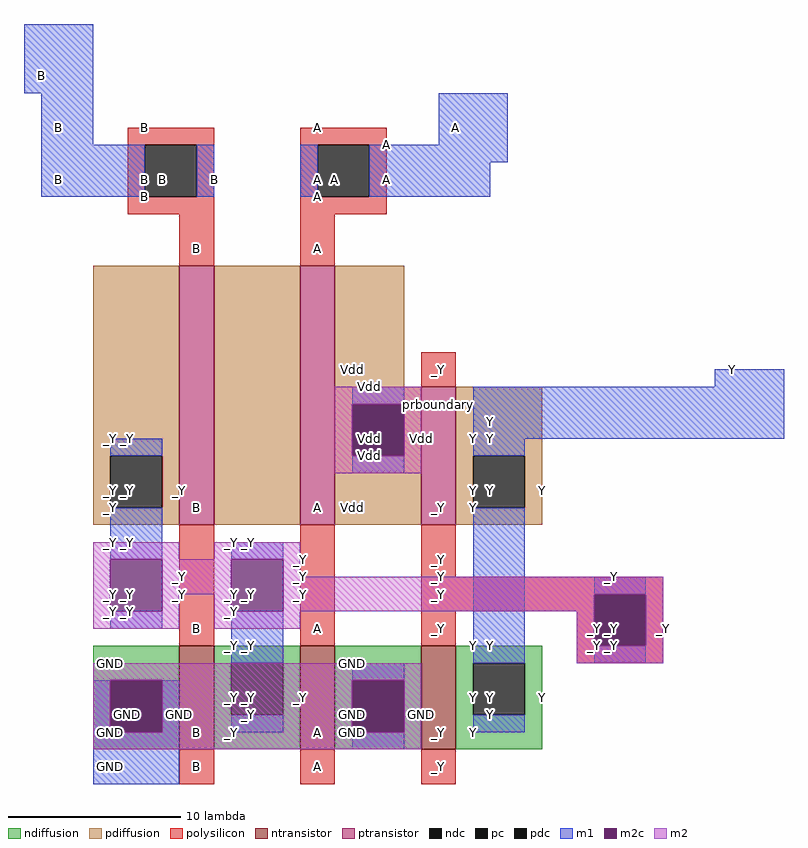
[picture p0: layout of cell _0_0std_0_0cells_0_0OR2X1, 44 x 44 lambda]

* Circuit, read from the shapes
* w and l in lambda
.subckt _0_0std_0_0cells_0_0OR2X1 Y A B
M1 _Y B GND VSUBS nfet w=6 l=2
M2 GND A _Y VSUBS nfet w=6 l=2
M3 Y _Y GND VSUBS nfet w=6 l=2
M4 n1 B _Y NWELL pfet w=15 l=2
M5 Vdd A n1 NWELL pfet w=15 l=2
M6 Y _Y Vdd NWELL pfet w=8 l=2
.ends

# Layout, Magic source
magic
tech sky130l
<< ndiffusion >>
rect 8 10 13 12
rect 8 7 9 10
rect 12 7 13 10
rect 8 6 13 7
rect 15 11 20 12
rect 15 8 16 11
rect 19 8 20 11
rect 15 6 20 8
rect 22 10 27 12
rect 22 7 23 10
rect 26 7 27 10
rect 22 6 27 7
rect 29 11 34 12
rect 29 8 30 11
rect 33 8 34 11
rect 29 6 34 8
<< ndc >>
rect 9 7 12 10
rect 16 8 19 11
rect 23 7 26 10
rect 30 8 33 11
<< ntransistor >>
rect 13 6 15 12
rect 20 6 22 12
rect 27 6 29 12
<< pdiffusion >>
rect 8 23 13 34
rect 8 20 9 23
rect 12 20 13 23
rect 8 19 13 20
rect 15 19 20 34
rect 22 27 26 34
rect 22 26 27 27
rect 22 23 23 26
rect 26 23 27 26
rect 22 19 27 23
rect 29 23 34 27
rect 29 20 30 23
rect 33 20 34 23
rect 29 19 34 20
<< pdc >>
rect 9 20 12 23
rect 23 23 26 26
rect 30 20 33 23
<< ptransistor >>
rect 13 19 15 34
rect 20 19 22 34
rect 27 19 29 27
<< polysilicon >>
rect 10 41 15 42
rect 10 38 11 41
rect 14 38 15 41
rect 10 37 15 38
rect 13 34 15 37
rect 20 41 25 42
rect 20 38 21 41
rect 24 38 25 41
rect 20 37 25 38
rect 20 34 22 37
rect 27 27 29 29
rect 13 12 15 19
rect 20 12 22 19
rect 27 16 29 19
rect 27 15 41 16
rect 27 14 37 15
rect 27 12 29 14
rect 36 12 37 14
rect 40 12 41 15
rect 36 11 41 12
rect 13 4 15 6
rect 20 4 22 6
rect 27 4 29 6
<< pc >>
rect 11 38 14 41
rect 21 38 24 41
rect 37 12 40 15
<< m1 >>
rect 4 44 8 48
rect 5 41 8 44
rect 28 41 32 44
rect 5 38 11 41
rect 14 38 15 41
rect 20 38 21 41
rect 24 40 32 41
rect 24 38 31 40
rect 44 27 48 28
rect 23 26 26 27
rect 9 23 12 24
rect 23 22 26 23
rect 30 24 48 27
rect 30 23 33 24
rect 9 17 12 20
rect 9 13 12 14
rect 16 17 19 18
rect 16 11 19 14
rect 30 11 33 20
rect 37 15 40 16
rect 37 11 40 12
rect 8 7 9 10
rect 12 7 13 10
rect 16 7 19 8
rect 23 10 26 11
rect 30 7 33 8
rect 8 4 13 7
rect 23 6 26 7
<< m2c >>
rect 23 23 26 26
rect 9 14 12 17
rect 16 14 19 17
rect 37 12 40 15
rect 9 7 12 10
rect 23 7 26 10
<< m2 >>
rect 22 26 27 27
rect 22 23 23 26
rect 26 23 27 26
rect 22 22 27 23
rect 8 17 13 18
rect 15 17 20 18
rect 8 14 9 17
rect 12 15 16 17
rect 12 14 13 15
rect 8 13 13 14
rect 15 14 16 15
rect 19 16 20 17
rect 19 15 41 16
rect 19 14 37 15
rect 15 13 20 14
rect 36 12 37 14
rect 40 12 41 15
rect 36 11 41 12
rect 8 10 27 11
rect 8 7 9 10
rect 12 7 23 10
rect 26 7 27 10
rect 8 6 27 7
<< labels >>
rlabel space 0 0 56 52 6 prboundary
rlabel ndiffusion 34 9 34 9 3 Y
rlabel pdiffusion 34 21 34 21 3 Y
rlabel ndiffusion 30 7 30 7 3 Y
rlabel ndiffusion 30 9 30 9 3 Y
rlabel ndiffusion 30 12 30 12 3 Y
rlabel pdiffusion 30 20 30 20 3 Y
rlabel pdiffusion 30 21 30 21 3 Y
rlabel pdiffusion 30 24 30 24 3 Y
rlabel polysilicon 28 28 28 28 3 _Y
rlabel polysilicon 28 5 28 5 3 _Y
rlabel ntransistor 28 7 28 7 3 _Y
rlabel polysilicon 28 13 28 13 3 _Y
rlabel polysilicon 28 15 28 15 3 _Y
rlabel polysilicon 28 16 28 16 3 _Y
rlabel polysilicon 28 17 28 17 3 _Y
rlabel ptransistor 28 20 28 20 3 _Y
rlabel ndiffusion 23 7 23 7 3 GND
rlabel ndiffusion 23 8 23 8 3 GND
rlabel ndiffusion 23 11 23 11 3 GND
rlabel ndiffusion 20 9 20 9 3 _Y
rlabel pdiffusion 23 20 23 20 3 Vdd
rlabel pdiffusion 23 28 23 28 3 Vdd
rlabel polysilicon 21 35 21 35 3 A
rlabel polysilicon 21 38 21 38 3 A
rlabel polysilicon 21 42 21 42 3 A
rlabel polysilicon 21 5 21 5 3 A
rlabel ntransistor 21 7 21 7 3 A
rlabel polysilicon 21 13 21 13 3 A
rlabel ptransistor 21 20 21 20 3 A
rlabel ndiffusion 16 7 16 7 3 _Y
rlabel ndiffusion 16 9 16 9 3 _Y
rlabel ndiffusion 16 12 16 12 3 _Y
rlabel pdiffusion 13 21 13 21 3 _Y
rlabel polysilicon 14 35 14 35 3 B
rlabel polysilicon 14 5 14 5 3 B
rlabel ntransistor 14 7 14 7 3 B
rlabel polysilicon 14 13 14 13 3 B
rlabel ptransistor 14 20 14 20 3 B
rlabel polysilicon 11 38 11 38 3 B
rlabel polysilicon 11 39 11 39 3 B
rlabel polysilicon 11 42 11 42 3 B
rlabel pdiffusion 9 20 9 20 3 _Y
rlabel pdiffusion 9 21 9 21 3 _Y
rlabel pdiffusion 9 24 9 24 3 _Y
rlabel m1 45 28 45 28 3 Y
port 1 e
rlabel m1 38 12 38 12 3 _Y
rlabel m1 38 16 38 16 3 _Y
rlabel m1 29 42 29 42 3 A
port 2 e
rlabel ndc 31 9 31 9 3 Y
port 1 e
rlabel m1 31 12 31 12 3 Y
port 1 e
rlabel pdc 31 21 31 21 3 Y
port 1 e
rlabel m1 31 24 31 24 3 Y
port 1 e
rlabel m1 31 25 31 25 3 Y
port 1 e
rlabel m1 31 8 31 8 3 Y
port 1 e
rlabel m1 24 11 24 11 3 GND
rlabel m1 24 23 24 23 3 Vdd
rlabel m1 24 27 24 27 3 Vdd
rlabel m1 25 39 25 39 3 A
port 2 e
rlabel m1 25 41 25 41 3 A
port 2 e
rlabel pc 22 39 22 39 3 A
port 2 e
rlabel m1 21 39 21 39 3 A
port 2 e
rlabel m1 17 8 17 8 3 _Y
rlabel ndc 17 9 17 9 3 _Y
rlabel m1 17 12 17 12 3 _Y
rlabel m1 17 18 17 18 3 _Y
rlabel m1 24 7 24 7 3 GND
rlabel m1 10 14 10 14 3 _Y
rlabel m1 10 18 10 18 3 _Y
rlabel pdc 10 21 10 21 3 _Y
rlabel m1 10 24 10 24 3 _Y
rlabel m1 15 39 15 39 3 B
port 3 e
rlabel m1 9 5 9 5 3 GND
rlabel pc 12 39 12 39 3 B
port 3 e
rlabel m1 6 39 6 39 3 B
port 3 e
rlabel m1 6 42 6 42 3 B
port 3 e
rlabel m1 5 45 5 45 3 B
port 3 e
rlabel m2 20 15 20 15 3 _Y
rlabel m2 20 16 20 16 3 _Y
rlabel m2 20 17 20 17 3 _Y
rlabel m2 27 24 27 24 3 Vdd
rlabel m2c 17 15 17 15 3 _Y
rlabel m2c 24 24 24 24 3 Vdd
rlabel m2 27 8 27 8 3 GND
rlabel m2 41 13 41 13 3 _Y
rlabel m2 16 15 16 15 3 _Y
rlabel m2 23 23 23 23 3 Vdd
rlabel m2 23 24 23 24 3 Vdd
rlabel m2 23 27 23 27 3 Vdd
rlabel m2c 24 8 24 8 3 GND
rlabel m2c 38 13 38 13 3 _Y
rlabel m2 13 8 13 8 3 GND
rlabel m2 37 12 37 12 3 _Y
rlabel m2 37 13 37 13 3 _Y
rlabel m2 16 14 16 14 3 _Y
rlabel m2 13 15 13 15 3 _Y
rlabel m2 13 16 13 16 3 _Y
rlabel m2 16 18 16 18 3 _Y
rlabel m2c 10 8 10 8 3 GND
rlabel m2c 10 15 10 15 3 _Y
rlabel m2 9 7 9 7 3 GND
rlabel m2 9 8 9 8 3 GND
rlabel m2 9 11 9 11 3 GND
rlabel m2 9 14 9 14 3 _Y
rlabel m2 9 15 9 15 3 _Y
rlabel m2 9 18 9 18 3 _Y
<< end >>
